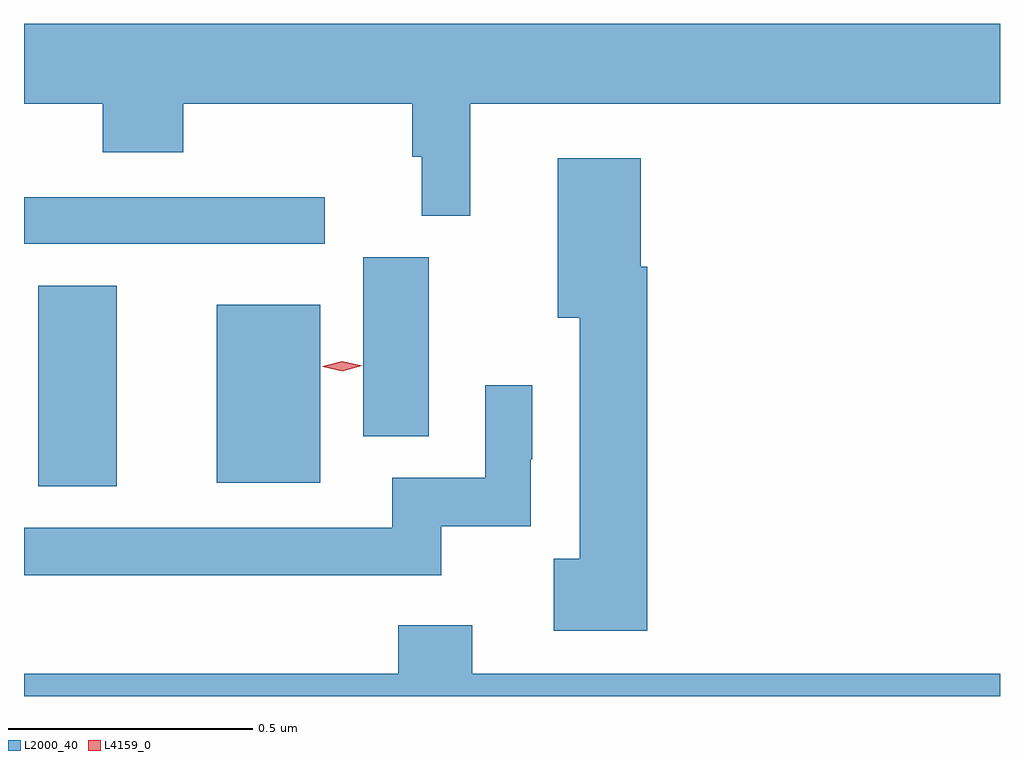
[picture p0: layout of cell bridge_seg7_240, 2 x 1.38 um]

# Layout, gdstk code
import gdstk
lib = gdstk.Library(unit=1e-6, precision=1e-09)
def R(c, l, rs):  # rectangles x0, y0, x1, y1
    for r in rs: c.add(gdstk.rectangle(r[:2], r[2:], *l))
def P(c, l, *ps):  # polygons
    for p in ps: c.add(gdstk.Polygon(p, *l))
L2000_40 = (2000, 40)
L4159_0 = (4159, 0)

bridge_seg7_240 = lib.new_cell('bridge_seg7_240')
R(bridge_seg7_240, L2000_40, [(327.197,1022.476,327.358,1022.887), (327.563,1022.483,327.775,1022.848), (327.863,1022.579,327.997,1022.946), (327.168,1022.973,327.784,1023.069)])
P(bridge_seg7_240, L2000_40, [(328.082,1023.26),(329.168,1023.26),(329.168,1023.424),(327.168,1023.424),(327.168,1023.26),(327.329,1023.26),(327.329,1023.161),(327.494,1023.161),(327.494,1023.26),(327.964,1023.26),(327.964,1023.152),(327.983,1023.152),(327.983,1023.031),(328.082,1023.031)],
  [(328.445,1022.926),(328.432,1022.926),(328.432,1023.148),(328.262,1023.148),(328.262,1022.822),(328.307,1022.822),(328.307,1022.328),(328.254,1022.328),(328.254,1022.18),(328.445,1022.18)],
  [(328.023,1022.394),(328.206,1022.394),(328.206,1022.532),(328.209,1022.532),(328.209,1022.683),(328.113,1022.683),(328.113,1022.494),(327.923,1022.494),(327.923,1022.391),(327.168,1022.391),(327.168,1022.294),(328.023,1022.294)],
  [(329.168,1022.092),(328.087,1022.092),(328.087,1022.191),(327.935,1022.191),(327.935,1022.092),(327.168,1022.092),(327.168,1022.046),(329.168,1022.046)])
P(bridge_seg7_240, L4159_0, [(327.82,1022.712),(327.78,1022.721),(327.78,1022.721),(327.78,1022.722),(327.82,1022.732),(327.861,1022.723),(327.861,1022.723),(327.861,1022.723)])

lib.write_gds('bridge_seg7_240.gds')
